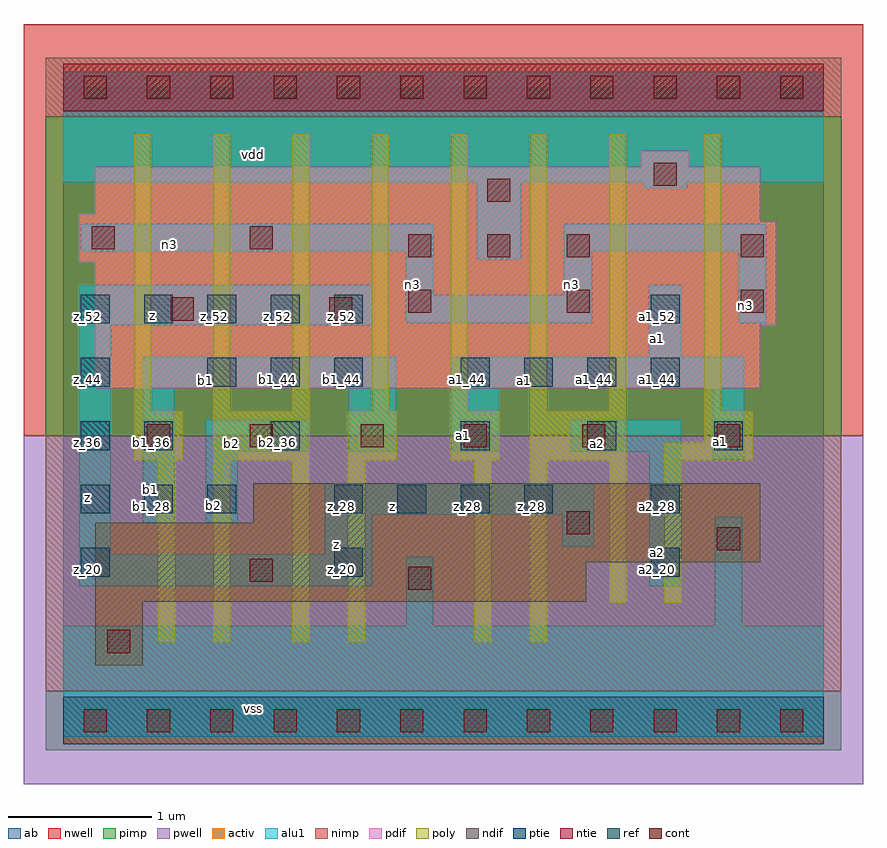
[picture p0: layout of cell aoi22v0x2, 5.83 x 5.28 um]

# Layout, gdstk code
import gdstk
lib = gdstk.Library(unit=1e-6, precision=2.5e-09)
def R(c, l, rs):  # rectangles x0, y0, x1, y1
    for r in rs: c.add(gdstk.rectangle(r[:2], r[2:], *l))
def A(c, l, x, y, w, h, nx, ny, dx, dy):  # array of equal rectangles
    R(c, l, [(x+i*dx, y+j*dy, x+i*dx+w, y+j*dy+h) for i in range(nx) for j in range(ny)])
ndif = (3, 0)
pdif = (4, 0)
ntie = (5, 0)
ptie = (6, 0)
ref = (24, 0)
cont = (25, 0)
pwell = (41, 0)
nwell = (42, 0)
activ = (43, 0)
pimp = (44, 0)
nimp = (45, 0)
poly = (46, 0)
alu1 = (49, 0)
ab = (63, 0)

aoi22v0x2 = lib.new_cell('aoi22v0x2')
R(aoi22v0x2, ndif, [(0.22,0.385,0.55,0.825), (0.22,0.825,3.63,1.1), (0.22,1.1,4.84,1.375), (1.32,1.375,4.84,1.65)])
R(aoi22v0x2, pdif, [(0.22,2.31,4.84,2.75), (0.22,2.75,4.95,3.19), (0.11,3.19,4.95,3.465), (0.11,3.465,4.84,3.52), (0.22,3.52,4.84,3.85), (4.015,3.85,4.345,3.96)])
R(aoi22v0x2, ntie, [(0,4.235,5.28,4.565)])
R(aoi22v0x2, ptie, [(0,-0.165,5.28,0.165)])
A(aoi22v0x2, ref, 0.12, 1.44, 0.2, 0.2, 3, 1, 0.44, 0)
A(aoi22v0x2, ref, 1.88, 1.44, 0.2, 0.2, 4, 1, 0.44, 0)
A(aoi22v0x2, ref, 2.76, 1.88, 0.2, 0.2, 3, 1, 0.88, 0)
A(aoi22v0x2, ref, 1, 2.32, 0.2, 0.2, 3, 1, 0.44, 0)
A(aoi22v0x2, ref, 2.76, 2.32, 0.2, 0.2, 4, 1, 0.44, 0)
A(aoi22v0x2, ref, 0.12, 2.76, 0.2, 0.2, 5, 1, 0.44, 0)
R(aoi22v0x2, ref, [(0.12,1,0.32,1.2), (1.88,1,2.08,1.2), (4.08,1,4.28,1.2), (4.08,1.44,4.28,1.64), (0.12,1.88,0.32,2.08), (0.56,1.88,0.76,2.08), (1.44,1.88,1.64,2.08), (0.12,2.32,0.32,2.52), (4.08,2.76,4.28,2.96)])
A(aoi22v0x2, cont, 0.14, -0.08, 0.16, 0.16, 12, 2, 0.44, 4.4)
A(aoi22v0x2, cont, 2.395, 3.22, 0.16, 0.16, 3, 1, 0.55, 0)
R(aoi22v0x2, cont, [(0.305,0.47,0.465,0.63), (2.395,0.91,2.555,1.07), (1.295,0.965,1.455,1.125), (4.54,1.185,4.7,1.345), (3.495,1.295,3.655,1.455), (0.58,1.9,0.74,2.06), (1.295,1.9,1.455,2.06), (2.065,1.9,2.225,2.06), (2.78,1.9,2.94,2.06), (3.605,1.9,3.765,2.06), (4.54,1.9,4.7,2.06), (0.745,2.78,0.905,2.94), (1.845,2.78,2.005,2.94), (2.395,2.835,2.555,2.995), (3.495,2.835,3.655,2.995), (4.705,2.835,4.865,2.995), (4.705,3.22,4.865,3.38), (0.195,3.275,0.355,3.435), (1.295,3.275,1.455,3.435), (2.945,3.605,3.105,3.765), (4.1,3.715,4.26,3.875)])
R(aoi22v0x2, pwell, [(-0.275,-0.44,5.555,1.98)])
R(aoi22v0x2, nwell, [(-0.275,1.98,5.555,4.84)])
R(aoi22v0x2, activ, [(0,-0.165,5.28,0.165), (0.22,0.385,0.55,0.825), (0.22,0.825,3.63,1.1), (0.22,1.1,4.84,1.375), (1.32,1.375,4.84,1.65), (0.22,2.31,4.84,2.75), (0.22,2.75,4.95,3.19), (0.11,3.19,4.95,3.465), (0.11,3.465,4.84,3.52), (0.22,3.52,4.84,3.85), (4.015,3.85,4.345,3.96), (0,4.235,5.28,4.565)])
R(aoi22v0x2, pimp, [(-0.125,-0.205,5.405,0.205), (-0.125,1.98,5.405,4.195)])
R(aoi22v0x2, nimp, [(-0.125,0.205,5.405,1.98), (-0.125,4.195,5.405,4.605)])
A(aoi22v0x2, poly, 0.49, 2.15, 0.12, 1.925, 7, 1, 0.55, 0)
R(aoi22v0x2, poly, [(0.655,0.545,0.775,1.81), (1.04,0.545,1.16,1.81), (1.59,0.545,1.71,1.81), (1.975,0.545,2.095,1.81), (2.855,0.545,2.975,1.81), (3.24,0.545,3.36,1.81), (3.79,0.82,3.91,1.81), (4.175,0.82,4.295,1.81), (0.49,1.81,0.83,2.15), (1.04,1.81,1.71,2.15), (1.975,1.81,2.315,2.15), (2.69,1.81,3.03,2.15), (3.24,1.81,3.91,2.15), (4.175,1.81,4.79,1.93), (4.45,1.93,4.79,2.15), (4.45,2.15,4.57,4.075)])
R(aoi22v0x2, alu1, [(0,-0.11,5.28,0.66), (2.38,0.66,2.57,1.14), (4.525,0.66,4.715,1.415), (0.11,0.935,2.145,1.155), (4.07,0.935,4.29,1.87), (0.11,1.155,0.33,2.75), (1.815,1.155,2.145,1.43), (3.465,1.21,3.685,1.43), (0.55,1.375,0.77,2.31), (0.99,1.375,1.21,1.87), (1.815,1.43,3.685,1.65), (4.51,1.815,4.73,2.31), (0.99,1.87,1.705,2.09), (1.98,1.87,2.31,2.31), (2.695,1.87,3.025,2.31), (3.52,1.87,4.29,2.09), (0.55,2.31,2.31,2.53), (2.695,2.31,4.73,2.53), (4.07,2.53,4.29,3.025), (0.11,2.75,2.145,3.025), (2.38,2.765,3.67,2.955), (4.69,2.765,4.88,3.26), (2.38,2.955,2.57,3.26), (3.48,2.955,3.67,3.26), (2.875,3.205,3.175,3.74), (0.125,3.26,2.57,3.45), (3.48,3.26,4.88,3.45), (4.03,3.7,4.33,3.74), (0,3.74,5.28,4.51)])
R(aoi22v0x2, ab, [(0,0,5.28,4.4)])
aoi22v0x2.add(gdstk.Label('vss', (1.32,0.0825), layer=49, texttype=0))
aoi22v0x2.add(gdstk.Label('a1', (4.565,1.9375), layer=49, texttype=0))
aoi22v0x2.add(gdstk.Label('a2', (4.125,1.1675), layer=49, texttype=0))
aoi22v0x2.add(gdstk.Label('z', (1.8975,1.2225), layer=49, texttype=0))
aoi22v0x2.add(gdstk.Label('z', (2.2825,1.485), layer=49, texttype=0))
aoi22v0x2.add(gdstk.Label('b2', (1.045,1.4975), layer=49, texttype=0))
aoi22v0x2.add(gdstk.Label('a2', (3.7125,1.925), layer=49, texttype=0))
aoi22v0x2.add(gdstk.Label('a1', (2.7775,1.98), layer=49, texttype=0))
aoi22v0x2.add(gdstk.Label('a1', (3.2025,2.365), layer=49, texttype=0))
aoi22v0x2.add(gdstk.Label('b2', (1.1675,1.925), layer=49, texttype=0))
aoi22v0x2.add(gdstk.Label('b1', (0.605,1.6075), layer=49, texttype=0))
aoi22v0x2.add(gdstk.Label('b1', (0.99,2.365), layer=49, texttype=0))
aoi22v0x2.add(gdstk.Label('n3', (4.7375,2.8875), layer=49, texttype=0))
aoi22v0x2.add(gdstk.Label('a1', (4.125,2.6525), layer=49, texttype=0))
aoi22v0x2.add(gdstk.Label('z', (0.165,1.5525), layer=49, texttype=0))
aoi22v0x2.add(gdstk.Label('n3', (3.5275,3.03), layer=49, texttype=0))
aoi22v0x2.add(gdstk.Label('n3', (2.4275,3.03), layer=49, texttype=0))
aoi22v0x2.add(gdstk.Label('z', (0.6175,2.8175), layer=49, texttype=0))
aoi22v0x2.add(gdstk.Label('n3', (0.735,3.3075), layer=49, texttype=0))
aoi22v0x2.add(gdstk.Label('vdd', (1.32,3.9325), layer=49, texttype=0))
aoi22v0x2.add(gdstk.Label('b1_28', (0.61,1.49), layer=24, texttype=0))
aoi22v0x2.add(gdstk.Label('b1_36', (0.61,1.93), layer=24, texttype=0))
aoi22v0x2.add(gdstk.Label('z_52', (0.61,2.81), layer=24, texttype=0))
aoi22v0x2.add(gdstk.Label('b2_28', (1.05,1.49), layer=24, texttype=0))
aoi22v0x2.add(gdstk.Label('b1_44', (1.05,2.37), layer=24, texttype=0))
aoi22v0x2.add(gdstk.Label('z_52', (1.05,2.81), layer=24, texttype=0))
aoi22v0x2.add(gdstk.Label('b2_36', (1.49,1.93), layer=24, texttype=0))
aoi22v0x2.add(gdstk.Label('b1_44', (1.49,2.37), layer=24, texttype=0))
aoi22v0x2.add(gdstk.Label('z_52', (1.49,2.81), layer=24, texttype=0))
aoi22v0x2.add(gdstk.Label('z_20', (1.93,1.05), layer=24, texttype=0))
aoi22v0x2.add(gdstk.Label('z_28', (1.93,1.49), layer=24, texttype=0))
aoi22v0x2.add(gdstk.Label('b1_44', (1.93,2.37), layer=24, texttype=0))
aoi22v0x2.add(gdstk.Label('z_52', (1.93,2.81), layer=24, texttype=0))
aoi22v0x2.add(gdstk.Label('z_20', (0.17,1.05), layer=24, texttype=0))
aoi22v0x2.add(gdstk.Label('z_28', (0.17,1.49), layer=24, texttype=0))
aoi22v0x2.add(gdstk.Label('z_36', (0.17,1.93), layer=24, texttype=0))
aoi22v0x2.add(gdstk.Label('z_44', (0.17,2.37), layer=24, texttype=0))
aoi22v0x2.add(gdstk.Label('z_52', (0.17,2.81), layer=24, texttype=0))
aoi22v0x2.add(gdstk.Label('z_28', (2.37,1.49), layer=24, texttype=0))
aoi22v0x2.add(gdstk.Label('z_28', (2.81,1.49), layer=24, texttype=0))
aoi22v0x2.add(gdstk.Label('a1_36', (2.81,1.93), layer=24, texttype=0))
aoi22v0x2.add(gdstk.Label('a1_44', (2.81,2.37), layer=24, texttype=0))
aoi22v0x2.add(gdstk.Label('z_28', (3.25,1.49), layer=24, texttype=0))
aoi22v0x2.add(gdstk.Label('a1_44', (3.25,2.37), layer=24, texttype=0))
aoi22v0x2.add(gdstk.Label('a2_36', (3.69,1.93), layer=24, texttype=0))
aoi22v0x2.add(gdstk.Label('a1_44', (3.69,2.37), layer=24, texttype=0))
aoi22v0x2.add(gdstk.Label('a2_20', (4.13,1.05), layer=24, texttype=0))
aoi22v0x2.add(gdstk.Label('a2_28', (4.13,1.49), layer=24, texttype=0))
aoi22v0x2.add(gdstk.Label('a1_44', (4.13,2.37), layer=24, texttype=0))
aoi22v0x2.add(gdstk.Label('a1_52', (4.13,2.81), layer=24, texttype=0))
aoi22v0x2.add(gdstk.Label('a1_36', (4.57,1.93), layer=24, texttype=0))

lib.write_gds('aoi22v0x2.gds')
